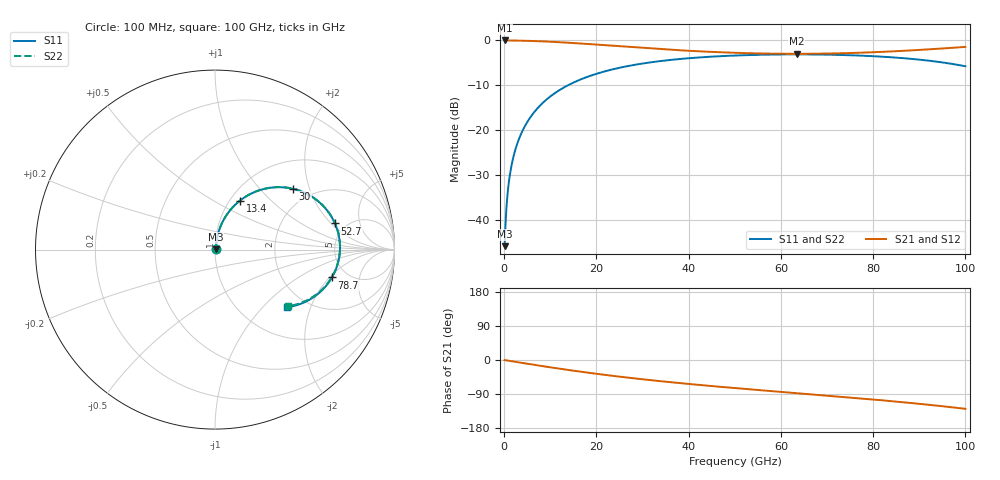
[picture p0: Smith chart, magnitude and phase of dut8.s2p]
! Touchstone file exported from HFSS 2026.1.0
!  File:  C:/ffzhzh/LocalFiles/Ansys_Project_Files/temp_train_RDL_8_1783497595_41296.aedt
!  Generated:  04:01:02 PM Jul  8, 2026
!  Design:  RDL
!  Project:  temp_train_RDL_8_1783497595_41296
! Variables:
!  h_bsmrdl = 2um
!  h_ox = 20um
!  h_rdl = 5um
!  h_sub = 80um
!  h_tmrdl = 2.39um
!  h_tsv = 80um
!  h_via = 3um
!  l_bsmrdl = 300um
!  l_sub = 840.92um
!  l_tmrdl = 440.92um
!  m_sub = 200um
!  pitch = 54.97um
!  r_tsv = 6um
!  s_tmrdl = 10um
!  w_bsmrdl = 18um
!  w_sub = 500um
!  w_tmrdl = 15.49um
!  x_tsv_center1 = 448.665um
!  x_tsv_center2 = 766.665um
!  x_tsv_center3 = 1223.075um
!  x_tsv_center4 = 1541.075um
!  x_tsv_center5 = 1997.485um
!  x_tsv_center6 = 2315.485um
# GHz S MA R 50.000000
! Terminal data exported
! Port[1] = TM_RDL1_1_T1
! Port[2] = TM_RDL1_1_T2
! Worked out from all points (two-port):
!   1000 points, 100 MHz to 100 GHz, reference 50 ohm
!   highest |S21| = -0.04 dB at 100 MHz (marker M1); lowest = -3.0 dB at 63.4 GHz (marker M2)
!   |S21| within 3 dB of the highest: start of sweep to end of sweep
!   lowest |S11| = -45.8 dB at 100 MHz (marker M3), VSWR 1.01, Z = 50.4 + j0.264 ohm
!   |S11| at or under -10 dB: start of sweep to 13.87 GHz
!   |S22| runs from -45.8 to -3.1 dB; largest |S21 - S12| = 1.5e-14
!   S11 on the Smith chart (normalised r, x): 100 MHz: 1.01, +0.01; 13.4 GHz: 1.11, +0.67; 30 GHz: 1.61, +1.56; 52.7 GHz: 4.05, +2.22; 78.7 GHz: 3.80, -2.14; 100 GHz: 1.59, -1.39
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0.1  0.005109 30.8  0.9956 -0.2  0.9956 -0.2  0.005109 30.8
! Gamma 0 0 0 0
! Port Impedance 50 0 50 0
0.9  0.02344 75.8  0.9947 -1.8  0.9947 -1.8  0.02344 75.8
1.4  0.03559 78.6  0.9941 -2.8  0.9941 -2.8  0.03559 78.6
2.3  0.05752 79.9  0.9928 -4.6  0.9928 -4.6  0.05752 79.9
3.5  0.0867 79.2  0.9904 -6.9  0.9904 -6.9  0.0867 79.2
5.2  0.1275 77.0  0.9856 -10.2  0.9856 -10.2  0.1275 77.0
7.4  0.1789 73.3  0.977 -14.4  0.977 -14.4  0.1789 73.4
10.1  0.239 68.6  0.9633 -19.5  0.9633 -19.5  0.239 68.7
13.4  0.3071 62.9  0.9429 -25.4  0.9429 -25.4  0.3071 63.0
16.8  0.3704 57.2  0.9192 -31.2  0.9192 -31.2  0.3703 57.3
23.1  0.469 47.5  0.8724 -41.2  0.8724 -41.2  0.4689 47.6
30  0.5512 37.9  0.8231 -50.9  0.8231 -50.9  0.5511 38.1
33.4  0.5831 33.5  0.8011 -55.3  0.8011 -55.3  0.583 33.7
41.7  0.6411 23.8  0.7564 -65.1  0.7564 -65.1  0.641 24.1
50.1  0.6768 14.9  0.7256 -74.1  0.7256 -74.1  0.6767 15.3
52.7  0.6839 12.3  0.7191 -76.8  0.7191 -76.8  0.6838 12.6
63.4  0.6968 1.8  0.7072 -87.4  0.7072 -87.4  0.6967 2.3
66.7  0.6957 -1.4  0.7083 -90.7  0.7083 -90.7  0.6955 -0.9
78.7  0.6702 -13.4  0.7317 -102.9  0.7317 -102.9  0.67 -12.8
83.4  0.6498 -18.4  0.7491 -108.0  0.7491 -108.0  0.6496 -17.8
92.6  0.5886 -29.1  0.7959 -118.9  0.7959 -118.9  0.5884 -28.4
100  0.5138 -38.7  0.8436 -128.9  0.8436 -128.9  0.5135 -37.9
